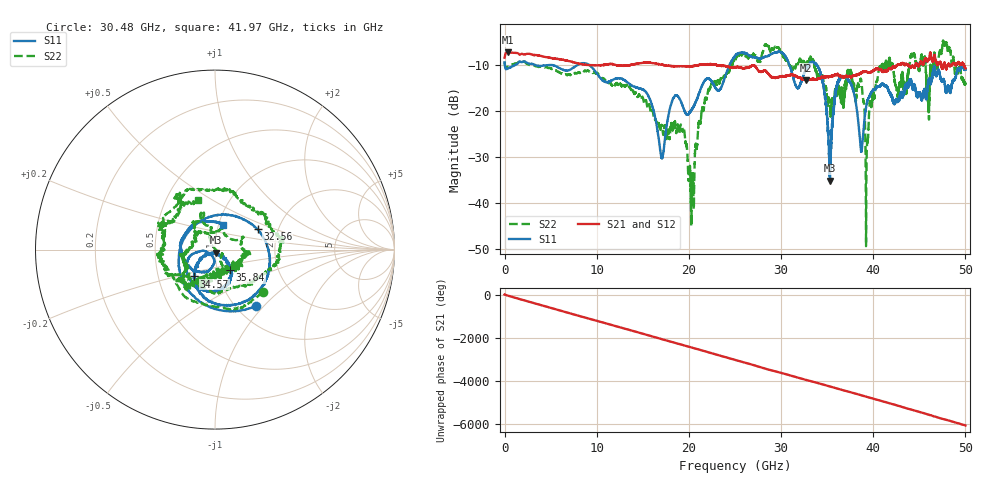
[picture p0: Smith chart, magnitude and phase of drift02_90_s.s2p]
!Created with skrf (http://scikit-rf.org).
# Hz S RI R 50.0
!freq ReS11 ImS11 ReS21 ImS21 ReS12 ImS12 ReS22 ImS22
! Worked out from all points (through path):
!   10001 points, 300 kHz to 50 GHz, reference 50 ohm
!   highest |S21| = -7.31 dB at 325.3 MHz (marker M1); lowest = -13.4 dB at 32.71 GHz (marker M2)
!   group delay of S21, straight-line fit = 335 ps
!   lowest |S11| = -35.2 dB at 35.31 GHz (marker M3), VSWR 1.04, Z = 50.3 - j1.72 ohm
!   |S11| at or under -10 dB: 3.224 GHz to 8.007 GHz (4.783 GHz wide, 85.2 % of centre); 9.107 GHz to 24.42 GHz (15.31 GHz wide, 91.3 % of centre); 33.85 GHz to end of sweep (the widest 3 of 8)
!   |S22| runs from -49.4 to -4.8 dB; largest |S21 - S12| = 0.014
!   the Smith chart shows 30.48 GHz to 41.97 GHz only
!   S11 on the Smith chart (normalised r, x): 30.48 GHz: 1.23, -0.90; 32.56 GHz: 1.56, +0.38; 34.57 GHz: 0.76, -0.24; 35.84 GHz: 1.15, -0.27; 41.97 GHz: 1.05, +0.30
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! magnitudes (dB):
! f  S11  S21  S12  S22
! 300 kHz  -9.5  -8.5  -8.4  -9.5
! 325.3 MHz  -10.9  -7.3  -7.3  -10.5
! 8.335 GHz  -9.7  -9.9  -9.9  -11.5
! 16.67 GHz  -25.4  -9.9  -9.9  -22.8
! 19.31 GHz  -18.9  -10.4  -10.3  -24.5
! 20.37 GHz  -19.6  -10.3  -10.3  -34.0
! 21.94 GHz  -13.1  -9.9  -10.0  -17.3
! 25 GHz  -8.1  -10.6  -10.6  -9.1
! 30.48 GHz  -8.2  -12.5  -12.5  -9.0
! 32.56 GHz  -11.6  -13.2  -13.2  -9.8
! 32.71 GHz  -11.0  -13.4  -13.5  -10.0
! 33.34 GHz  -9.5  -13.1  -13.2  -9.0
! 34.57 GHz  -14.5  -12.8  -12.7  -13.1
! 35.31 GHz  -35.2  -12.5  -12.4  -18.9
! 35.84 GHz  -17.0  -12.2  -12.3  -15.6
! 37.43 GHz  -13.7  -12.5  -12.5  -11.8
! 38.56 GHz  -26.1  -12.0  -12.0  -13.9
! 39.33 GHz  -18.1  -11.6  -11.6  -27.1
! 41.67 GHz  -15.6  -10.9  -11.1  -9.4
! 41.97 GHz  -16.8  -10.9  -10.9  -10.6
! 47.77 GHz  -14.4  -9.7  -9.7  -5.8
! 50 GHz  -11.1  -10.8  -10.8  -14.0
